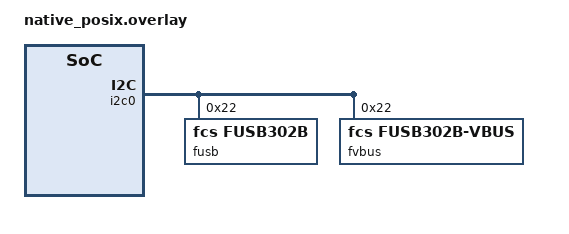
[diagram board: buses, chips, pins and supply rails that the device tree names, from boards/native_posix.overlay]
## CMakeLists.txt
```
cmake_minimum_required(VERSION 3.20.0)

set(EXTRA_ZEPHYR_MODULES ${CMAKE_CURRENT_SOURCE_DIR}/../oot_module)
find_package(Zephyr REQUIRED HINTS $ENV{ZEPHYR_BASE})
project(my_zephyr_app)

target_sources(app PRIVATE src/main.c)
```

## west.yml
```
manifest:
  remotes:
    - name: zephyrproject-rtos
      url-base: https://github.com/zephyrproject-rtos
    - name: ottojo
      url-base: https://github.com/ottojo

  projects:
    - name: zephyr
      remote: ottojo
      revision: otterpill
      import:
        name-allowlist:
          - cmsis      # required by the ARM port
          - hal_stm32  # required by the nucleo_f302r8 board (STM32 based)
```

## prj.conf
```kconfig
CONFIG_EMUL=y
CONFIG_I2C=y
CONFIG_USBC_TCPC_DRIVER=y
CONFIG_ASSERT=y
CONFIG_LOG=y
CONFIG_I2C_DUMP_MESSAGES=n
CONFIG_I2C_LOG_LEVEL_DBG=y
CONFIG_USBC_VBUS_DRIVER=y
```

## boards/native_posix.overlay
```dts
&i2c0 {
    status = "okay";
    fusb: fusb302b@22 {
        compatible = "fcs,fusb302b";
        status = "okay";
        reg = <0x22>;
    };

    fvbus: fusb302b-vbus@22 {
        compatible = "fcs,fusb302b-vbus";
        fusb302b = <&fusb>;
        reg = <0x22>;
    };
};
```

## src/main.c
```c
#include <posix_board_if.h>
#include <zephyr/drivers/emul_usbc_vbus.h>
#include <zephyr/drivers/usb_c/fusb302b.h>
#include <zephyr/drivers/usb_c/usbc_vbus.h>
#include <zephyr/logging/log.h>
#include <zephyr/sys/printk.h>

LOG_MODULE_REGISTER(main);

int main() {
  const struct device *const fusb_dev = DEVICE_DT_GET(DT_NODELABEL(fusb));
  const struct device *const vbus_dev = DEVICE_DT_GET(DT_NODELABEL(fvbus));

  const struct emul *vbus_emul = EMUL_DT_GET(DT_NODELABEL(fvbus));

  __ASSERT_NO_MSG(device_is_ready(fusb_dev));
  __ASSERT_NO_MSG(device_is_ready(vbus_dev));

  emul_usbc_vbus_set_vbus_voltage(vbus_emul, 5000);

  usbc_vbus_enable(vbus_dev, true);
  int meas_result = 0;
  int res = usbc_vbus_measure(vbus_dev, &meas_result);
  __ASSERT(res == 0, "Error during measure: %d", res);
  LOG_INF("VBUS measured at %dmV", meas_result);
  __ASSERT(meas_result < 5250 && meas_result > 4750,
           "VBUS measurement failed, measured %dmV", meas_result);

  posix_exit(0);
  return 0;
}
```
